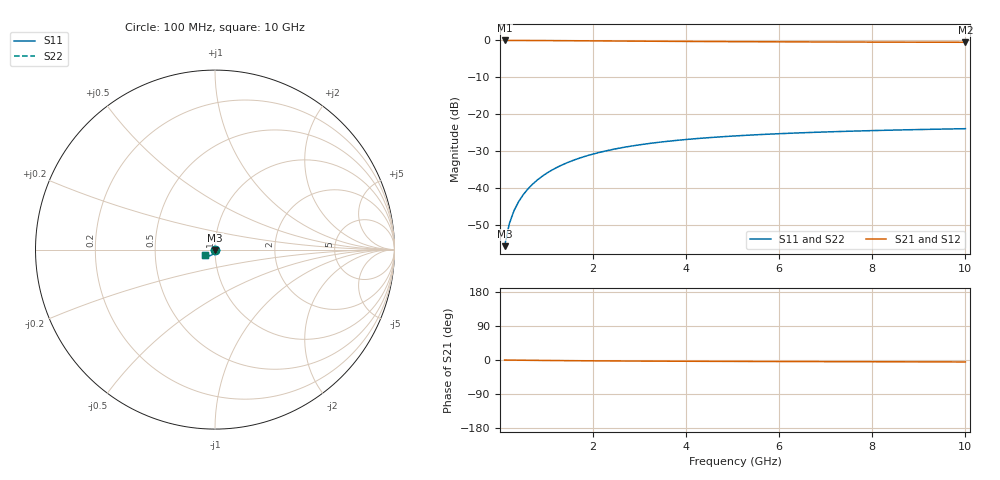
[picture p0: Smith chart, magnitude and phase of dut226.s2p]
! Touchstone file exported from HFSS 2024.1.0
!  File:  C:/UserFiles/LocalFiles/RDL_TSV_Batchsim/temp_TSV1_226_1778758672.aedt
!  Generated:  07:44:27 PM May 14, 2026
!  Design:  TSV1
!  Project:  temp_TSV1_226_1778758672
!  Setup:  Setup1
!  Solution:  Sweep
! Variables:
!  dtsv = 12.85um
!  hbump = 3um
!  htsv = 77.65um
!  lrdl = 252.1521522um
!  p = 40
!  p1 = 40.76um
!  t = 500um
!  trdl = 3um
!  wrdl = 24.89489489um
# GHz S MA R 50.000000
! Terminal data exported
! Port[1] = TSV22_T1
! Port[2] = TSV22_T2
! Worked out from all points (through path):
!   100 points, 100 MHz to 10 GHz, reference 50 ohm
!   highest |S21| = 0.00 dB at 100 MHz (marker M1); lowest = -0.5 dB at 10 GHz (marker M2)
!   lowest |S11| = -55.9 dB at 100 MHz (marker M3), VSWR 1.00, Z = 50 - j0.161 ohm
!   |S11| at or under -10 dB: start of sweep to end of sweep
!   |S22| runs from -55.9 to -24.0 dB; largest |S21 - S12| = 9.7e-15
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0.1  0.001609 -88.1  0.9999 -0.1  0.9999 -0.1  0.001609 -88.1
! Gamma 0 0 0 0
! Port Impedance 50 0 50 0
0.2  0.003234 -91.1  0.9997 -0.3  0.9997 -0.3  0.003234 -91.1
0.3  0.00485 -93.1  0.9995 -0.4  0.9995 -0.4  0.00485 -93.1
0.4  0.006454 -94.8  0.9992 -0.5  0.9992 -0.5  0.006454 -94.8
0.5  0.008043 -96.4  0.9989 -0.6  0.9989 -0.6  0.008043 -96.4
0.6  0.009616 -97.9  0.9984 -0.8  0.9984 -0.8  0.009616 -97.9
0.7  0.01117 -99.4  0.9979 -0.9  0.9979 -0.9  0.01117 -99.4
0.8  0.0127 -100.8  0.9974 -1.0  0.9974 -1.0  0.0127 -100.8
0.9  0.0142 -102.2  0.9967 -1.1  0.9967 -1.1  0.0142 -102.2
1.1  0.01713 -104.9  0.9953 -1.3  0.9953 -1.3  0.01713 -104.9
1.4  0.02128 -108.7  0.9929 -1.6  0.9929 -1.6  0.02128 -108.7
1.6  0.02389 -111.2  0.9911 -1.8  0.9911 -1.8  0.02389 -111.2
1.8  0.02635 -113.5  0.9893 -2.0  0.9893 -2.0  0.02635 -113.5
2.1  0.02977 -116.7  0.9865 -2.2  0.9865 -2.2  0.02977 -116.7
2.5  0.03386 -120.7  0.9827 -2.5  0.9827 -2.5  0.03386 -120.7
2.9  0.03745 -124.2  0.9791 -2.8  0.9791 -2.8  0.03745 -124.2
3.4  0.04131 -128.1  0.9748 -3.0  0.9748 -3.0  0.04131 -128.1
4.2  0.04634 -133.3  0.9686 -3.4  0.9686 -3.4  0.04634 -133.3
5.1  0.05073 -137.9  0.9628 -3.7  0.9628 -3.7  0.05073 -137.9
6.7  0.05638 -144.0  0.9548 -4.2  0.9548 -4.2  0.05638 -144.0
8.4  0.06053 -148.7  0.9487 -4.7  0.9487 -4.7  0.06053 -148.7
10  0.06334 -152.0  0.9446 -5.2  0.9446 -5.2  0.06334 -152.0
